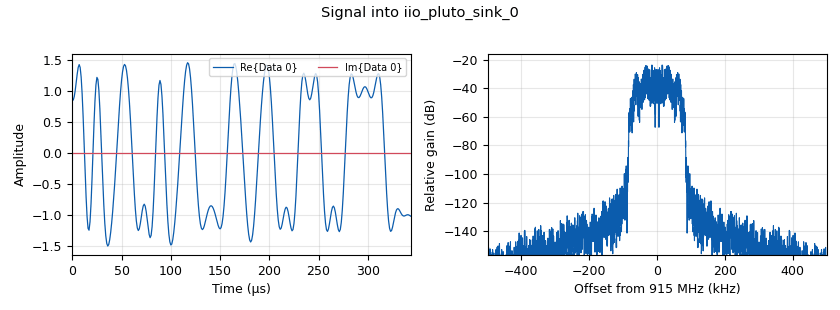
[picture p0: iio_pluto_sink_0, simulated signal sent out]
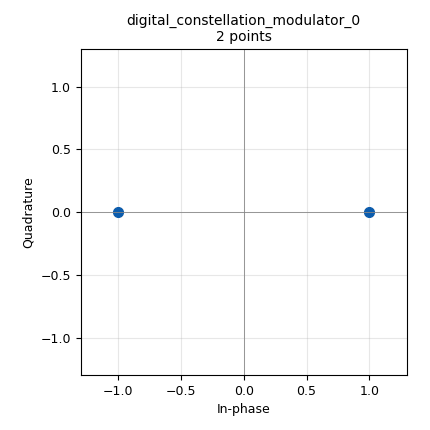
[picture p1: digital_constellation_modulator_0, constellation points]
options:
  parameters:
    author: Pc
    generate_options: qt_gui
    id: BPSK_Tx
    output_language: python
    title: Not titled yet
  states: {}

blocks:
- name: bpsk_kurallar
  id: variable_constellation
  parameters:
    precision: '8'
    type: bpsk
  states: {}
- name: carrier_freq
  id: variable
  parameters:
    value: '915000000'
  states: {}
- name: samp_rate
  id: variable
  parameters:
    value: '1000000'
  states: {}
- name: samples_per_symbol
  id: variable
  parameters:
    value: '8'
  states: {}
- name: blocks_vector_source_x_0
  id: blocks_vector_source_x
  parameters:
    repeat: 'True'
    type: byte
    vector: '[0xAA, 0xAA, 0xAA, 0x1A, 0xCF, 0xFC, 0x1D, 0x4D, 0x45, 0x52, 0x48, 0x41, 0x42, 0x41]'
  states: {}
- name: digital_constellation_modulator_0
  id: digital_constellation_modulator
  parameters:
    constellation: bpsk_kurallar
    differential: 'True'
    excess_bw: '0.35'
    samples_per_symbol: samples_per_symbol
  states: {}
- name: iio_pluto_sink_0
  id: iio_pluto_sink
  parameters:
    attenuation1: '20'
    bandwidth: '20000000'
    buffer_size: '32768'
    cyclic: 'False'
    filter_source: '''Auto'''
    frequency: carrier_freq
    samplerate: samp_rate
    type: fc32
  states: {}

connections:
- [blocks_vector_source_x_0, '0', digital_constellation_modulator_0, '0']
- [digital_constellation_modulator_0, '0', iio_pluto_sink_0, '0']

metadata:
  file_format: 1
  grc_version: 3.10.12.0
